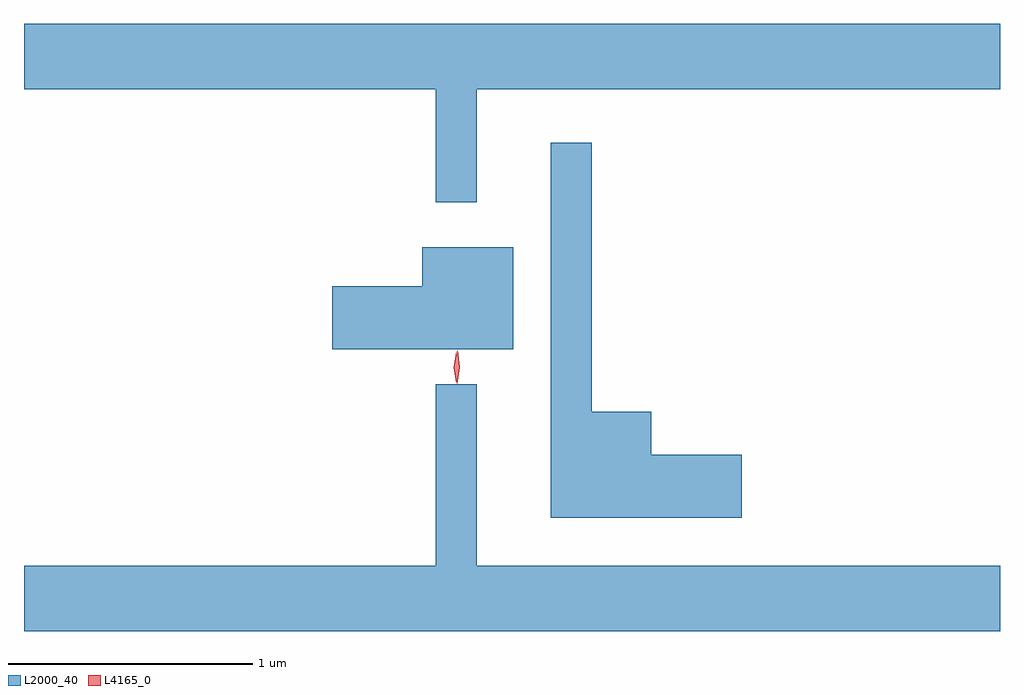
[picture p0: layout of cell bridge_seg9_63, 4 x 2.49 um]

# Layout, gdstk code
import gdstk
lib = gdstk.Library(unit=1e-6, precision=1e-09)
def P(c, l, *ps):  # polygons
    for p in ps: c.add(gdstk.Polygon(p, *l))
L2000_40 = (2000, 40)
L4165_0 = (4165, 0)

bridge_seg9_63 = lib.new_cell('bridge_seg9_63')
P(bridge_seg9_63, L2000_40, [(1658.149,1947.416),(1660.293,1947.416),(1660.293,1947.684),(1656.293,1947.684),(1656.293,1947.416),(1657.981,1947.416),(1657.981,1946.953),(1658.149,1946.953)],
  [(1659.234,1945.919),(1658.864,1945.919),(1658.864,1946.094),(1658.619,1946.094),(1658.619,1947.198),(1658.451,1947.198),(1658.451,1945.661),(1659.234,1945.661)],
  [(1658.299,1946.769),(1657.926,1946.769),(1657.926,1946.609),(1657.556,1946.609),(1657.556,1946.351),(1658.299,1946.351)],
  [(1660.293,1945.464),(1658.149,1945.464),(1658.149,1946.208),(1657.981,1946.208),(1657.981,1945.464),(1656.293,1945.464),(1656.293,1945.196),(1660.293,1945.196)])
P(bridge_seg9_63, L4165_0, [(1658.068,1946.21),(1658.059,1946.278),(1658.07,1946.346),(1658.07,1946.346),(1658.071,1946.346),(1658.079,1946.278),(1658.069,1946.21),(1658.069,1946.21)],
  [(1658.064,1946.213),(1658.055,1946.276),(1658.064,1946.339),(1658.065,1946.34),(1658.065,1946.339),(1658.075,1946.276),(1658.065,1946.213),(1658.065,1946.213)])

lib.write_gds('bridge_seg9_63.gds')
